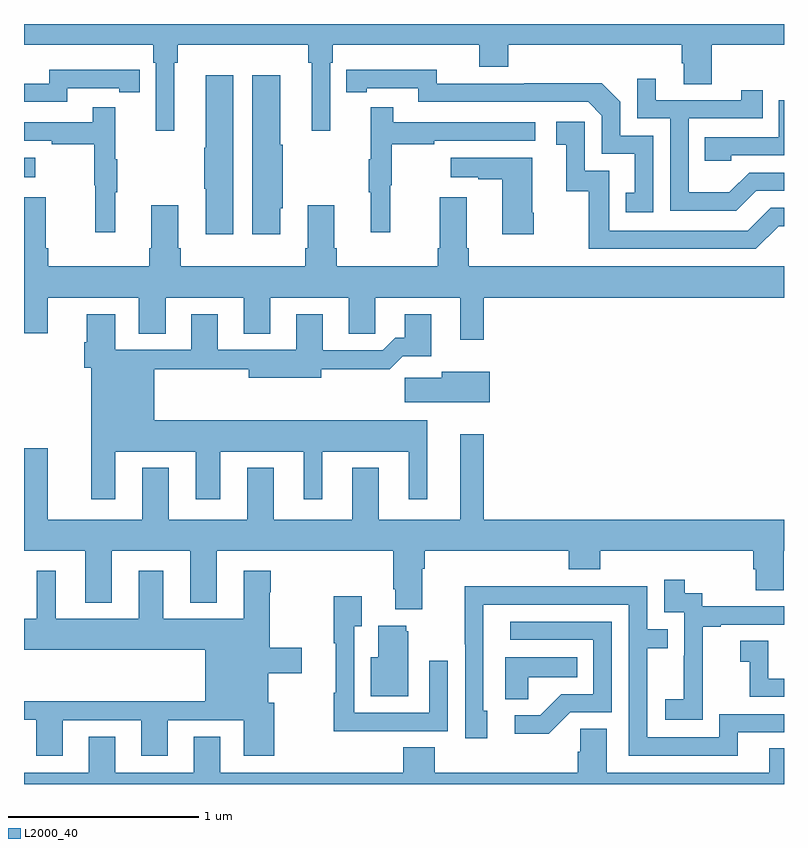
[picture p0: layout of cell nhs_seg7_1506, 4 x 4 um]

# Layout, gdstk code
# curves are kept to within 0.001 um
import gdstk
lib = gdstk.Library(unit=1e-6, precision=1e-09)
def R(c, l, rs):  # rectangles x0, y0, x1, y1
    for r in rs: c.add(gdstk.rectangle(r[:2], r[2:], *l))
def P(c, l, *ps):  # polygons
    for p in ps: c.add(gdstk.Polygon(p, *l))
L2000_40 = (2000, 40)

nhs_seg7_1506 = lib.new_cell('nhs_seg7_1506')
R(nhs_seg7_1506, L2000_40, [(213,1057.193,213.058,1057.297)])
P(nhs_seg7_1506, L2000_40, [(213.79,1057.796),(213.809,1057.796),(213.809,1057.892),(214.495,1057.892),(214.495,1057.796),(214.514,1057.796),(214.514,1057.437),(214.611,1057.437),(214.611,1057.796),(214.625,1057.796),(214.625,1057.892),(215.396,1057.892),(215.396,1057.775),(215.549,1057.775),(215.549,1057.892),(216.461,1057.892),(216.461,1057.794),(216.473,1057.794),(216.473,1057.684),(216.621,1057.684),(216.621,1057.892),(217,1057.892),(217,1058),(213,1058),(213,1057.892),(213.68,1057.892),(213.68,1057.796),(213.693,1057.796),(213.693,1057.437),(213.79,1057.437)],
  [(213.228,1057.662),(213.5,1057.662),(213.5,1057.642),(213.608,1057.642),(213.608,1057.758),(213.5,1057.758),(213.5,1057.759),(213.132,1057.759),(213.132,1057.686),(213,1057.686),(213,1057.59),(213.228,1057.59)],
  [(216.312,1057.413),(216.138,1057.413),(216.138,1057.59),(216.04,1057.688),(215.632,1057.688),(215.632,1057.686),(215.172,1057.686),(215.172,1057.759),(214.696,1057.758),(214.696,1057.642),(214.804,1057.642),(214.804,1057.662),(215.076,1057.662),(215.076,1057.59),(215.97,1057.59),(216.042,1057.518),(216.042,1057.317),(216.215,1057.317),(216.215,1057.113),(216.166,1057.113),(216.166,1057.008),(216.312,1057.008)],
  [(214.348,1057.029),(214.363,1057.029),(214.363,1057.365),(214.348,1057.365),(214.348,1057.729),(214.202,1057.729),(214.202,1056.894),(214.348,1056.894)],
  [(214.102,1057.729),(213.956,1057.729),(213.956,1057.349),(213.949,1057.349),(213.949,1057.132),(213.956,1057.132),(213.956,1056.894),(214.102,1056.894)],
  [(216.853,1057.122),(217,1057.122),(217,1057.218),(216.816,1057.218),(216.712,1057.114),(216.498,1057.114),(216.498,1057.503),(216.887,1057.503),(216.887,1057.651),(216.776,1057.651),(216.776,1057.599),(216.325,1057.599),(216.325,1057.711),(216.228,1057.711),(216.228,1057.503),(216.402,1057.503),(216.402,1057.017),(216.748,1057.017)],
  [(216.723,1057.308),(217,1057.308),(217,1057.599),(216.972,1057.599),(216.972,1057.404),(216.583,1057.404),(216.583,1057.281),(216.723,1057.281)],
  [(214.928,1057.152),(214.936,1057.152),(214.936,1057.366),(215.159,1057.366),(215.159,1057.386),(215.692,1057.386),(215.692,1057.482),(214.943,1057.482),(214.943,1057.561),(214.826,1057.561),(214.826,1057.289),(214.815,1057.289),(214.815,1057.115),(214.826,1057.115),(214.826,1056.903),(214.928,1056.903)],
  [(213.479,1057.115),(213.49,1057.115),(213.49,1057.289),(213.479,1057.289),(213.479,1057.561),(213.361,1057.561),(213.361,1057.482),(213,1057.482),(213,1057.386),(213.145,1057.386),(213.145,1057.366),(213.369,1057.366),(213.369,1057.152),(213.376,1057.152),(213.376,1056.903),(213.479,1056.903)],
  [(216.972,1056.936),(217,1056.936),(217,1057.032),(216.93,1057.032),(216.81,1056.912),(216.081,1056.912),(216.081,1057.227),(215.952,1057.227),(215.952,1057.486),(215.802,1057.486),(215.802,1057.365),(215.855,1057.365),(215.855,1057.119),(215.973,1057.119),(215.973,1056.816),(216.852,1056.816)],
  [(215.682,1057.006),(215.674,1057.006),(215.674,1057.297),(215.247,1057.297),(215.247,1057.193),(215.39,1057.193),(215.39,1057.183),(215.516,1057.183),(215.516,1056.894),(215.682,1056.894)],
  [(215.419,1056.56),(217,1056.56),(217,1056.724),(215.342,1056.724),(215.342,1056.82),(215.329,1056.82),(215.329,1057.087),(215.189,1057.087),(215.189,1056.82),(215.177,1056.82),(215.177,1056.724),(214.646,1056.724),(214.646,1056.82),(214.633,1056.82),(214.633,1057.045),(214.493,1057.045),(214.493,1056.82),(214.481,1056.82),(214.481,1056.724),(213.824,1056.724),(213.824,1056.82),(213.811,1056.82),(213.811,1057.045),(213.671,1057.045),(213.671,1056.82),(213.659,1056.82),(213.659,1056.724),(213.128,1056.724),(213.128,1056.82),(213.115,1056.82),(213.115,1057.087),(213,1057.087),(213,1056.372),(213.124,1056.372),(213.124,1056.56),(213.605,1056.56),(213.605,1056.37),(213.745,1056.37),(213.745,1056.56),(214.157,1056.56),(214.157,1056.37),(214.297,1056.37),(214.297,1056.56),(214.709,1056.56),(214.709,1056.37),(214.848,1056.37),(214.848,1056.56),(215.297,1056.56),(215.297,1056.339),(215.419,1056.339)],
  [(213.481,1055.75),(213.905,1055.75),(213.905,1055.499),(214.033,1055.499),(214.033,1055.75),(214.472,1055.75),(214.472,1055.499),(214.57,1055.499),(214.57,1055.75),(215.024,1055.75),(215.024,1055.499),(215.122,1055.499),(215.122,1055.914),(213.685,1055.914),(213.685,1056.184),(214.184,1056.184),(214.184,1056.137),(214.564,1056.137),(214.564,1056.182),(214.925,1056.182),(214.994,1056.251),(215.143,1056.251),(215.143,1056.472),(215.003,1056.472),(215.003,1056.349),(214.954,1056.349),(214.887,1056.282),(214.573,1056.282),(214.573,1056.472),(214.433,1056.472),(214.433,1056.285),(214.021,1056.285),(214.021,1056.472),(213.881,1056.472),(213.881,1056.285),(213.481,1056.285),(213.481,1056.472),(213.329,1056.472),(213.329,1056.326),(213.317,1056.326),(213.317,1056.192),(213.353,1056.192),(213.353,1055.499),(213.481,1055.499)],
  [(215.452,1056.169),(215.198,1056.169),(215.198,1056.137),(215.004,1056.137),(215.004,1056.008),(215.452,1056.008)],
  [(215.095,1055.132),(215.108,1055.132),(215.108,1055.228),(215.867,1055.228),(215.867,1055.129),(216.032,1055.129),(216.032,1055.228),(216.839,1055.228),(216.839,1055.13),(216.851,1055.13),(216.851,1055.02),(216.999,1055.02),(216.999,1055.228),(217,1055.228),(217,1055.392),(215.419,1055.392),(215.419,1055.842),(215.297,1055.842),(215.297,1055.392),(214.867,1055.392),(214.867,1055.665),(214.727,1055.665),(214.727,1055.392),(214.315,1055.392),(214.315,1055.665),(214.175,1055.665),(214.175,1055.392),(213.763,1055.392),(213.763,1055.665),(213.623,1055.665),(213.623,1055.392),(213.124,1055.392),(213.124,1055.767),(213,1055.767),(213,1055.228),(213.323,1055.228),(213.323,1054.955),(213.463,1054.955),(213.463,1055.228),(213.875,1055.228),(213.875,1054.955),(214.015,1054.955),(214.015,1055.228),(214.943,1055.228),(214.943,1055.026),(214.955,1055.026),(214.955,1054.919),(215.095,1054.919)],
  [(213.205,1054.335),(213.617,1054.335),(213.617,1054.149),(213.757,1054.149),(213.757,1054.335),(214.157,1054.335),(214.157,1054.149),(214.317,1054.149),(214.317,1054.428),(214.285,1054.428),(214.285,1054.583),(214.462,1054.583),(214.462,1054.718),(214.293,1054.718),(214.293,1055.009),(214.298,1055.009),(214.298,1055.122),(214.157,1055.122),(214.157,1054.87),(213.733,1054.87),(213.733,1055.122),(213.605,1055.122),(213.605,1054.87),(213.166,1054.87),(213.166,1055.122),(213.068,1055.122),(213.068,1054.87),(213,1054.87),(213,1054.706),(213.953,1054.706),(213.953,1054.436),(213,1054.436),(213,1054.338),(213.065,1054.338),(213.065,1054.149),(213.205,1054.149)],
  [(216.573,1054.543),(216.572,1054.543),(216.572,1054.827),(216.667,1054.827),(216.667,1054.839),(217,1054.839),(217,1054.935),(216.57,1054.935),(216.57,1055.004),(216.478,1055.004),(216.478,1055.074),(216.369,1055.074),(216.369,1054.905),(216.474,1054.905),(216.474,1054.676),(216.473,1054.676),(216.473,1054.447),(216.375,1054.447),(216.375,1054.337),(216.573,1054.337)],
  [(216.757,1054.272),(217,1054.272),(217,1054.368),(216.66,1054.368),(216.66,1054.245),(216.279,1054.245),(216.279,1054.714),(216.389,1054.714),(216.389,1054.815),(216.279,1054.815),(216.279,1055.04),(215.783,1055.04),(215.783,1055.042),(215.32,1055.042),(215.32,1054.735),(215.322,1054.735),(215.322,1054.242),(215.437,1054.242),(215.437,1054.386),(215.418,1054.386),(215.418,1054.944),(216.183,1054.944),(216.183,1054.149),(216.757,1054.149)],
  [(214.913,1054.278),(215.229,1054.278),(215.229,1054.648),(215.133,1054.648),(215.133,1054.374),(214.737,1054.374),(214.737,1054.831),(214.777,1054.831),(214.777,1054.987),(214.629,1054.987),(214.629,1054.742),(214.64,1054.742),(214.64,1054.481),(214.629,1054.481),(214.629,1054.277),(214.913,1054.277)],
  [(215.874,1054.377),(216.093,1054.377),(216.093,1054.854),(215.559,1054.854),(215.559,1054.758),(215.997,1054.758),(215.997,1054.473),(215.828,1054.473),(215.717,1054.362),(215.583,1054.362),(215.583,1054.265),(215.761,1054.265)],
  [(215.023,1054.803),(215.012,1054.803),(215.012,1054.834),(214.865,1054.834),(214.865,1054.666),(214.826,1054.666),(214.826,1054.463),(215.023,1054.463)],
  [(217,1054.554),(216.918,1054.554),(216.918,1054.753),(216.771,1054.753),(216.771,1054.643),(216.82,1054.643),(216.82,1054.458),(217,1054.458)],
  [(215.655,1054.562),(215.912,1054.562),(215.912,1054.666),(215.534,1054.666),(215.534,1054.447),(215.655,1054.447)],
  [(217,1054.187),(216.923,1054.187),(216.923,1054.06),(216.067,1054.06),(216.067,1054.292),(215.928,1054.292),(215.928,1054.169),(215.915,1054.169),(215.915,1054.06),(215.162,1054.06),(215.162,1054.193),(214.997,1054.193),(214.997,1054.06),(214.033,1054.06),(214.033,1054.25),(213.893,1054.25),(213.893,1054.06),(213.481,1054.06),(213.481,1054.25),(213.341,1054.25),(213.341,1054.06),(213,1054.06),(213,1054),(217,1054)])

lib.write_gds('nhs_seg7_1506.gds')
